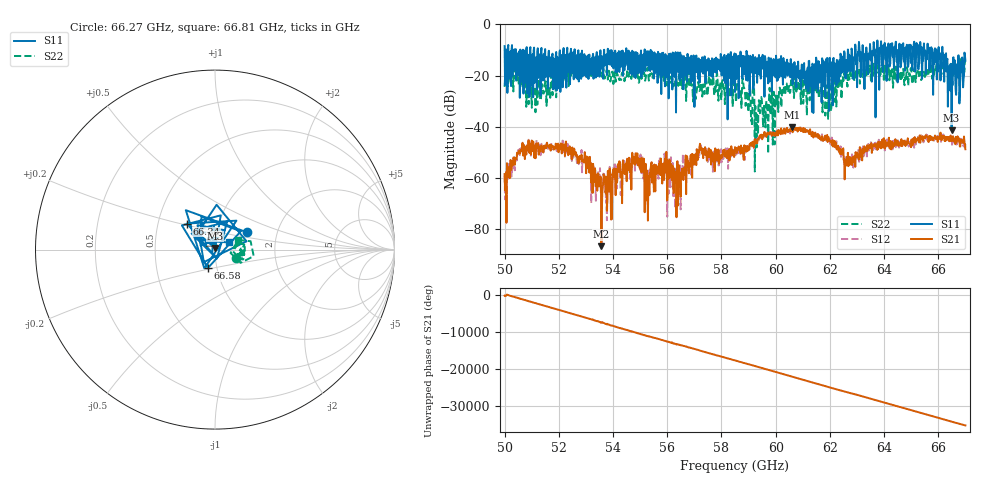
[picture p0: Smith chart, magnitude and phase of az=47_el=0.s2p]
!Created with skrf (http://scikit-rf.org).
# GHz S RI R 50.0
!freq ReS11 ImS11 ReS21 ImS21 ReS12 ImS12 ReS22 ImS22
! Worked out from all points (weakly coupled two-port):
!   1001 points, 50 GHz to 67 GHz, reference 50 ohm
!   highest |S21| = -40.09 dB at 60.61 GHz (marker M1); lowest = -86.7 dB at 53.57 GHz (marker M2)
!   lowest |S11| = -41.3 dB at 66.49 GHz (marker M3), VSWR 1.02, Z = 50 + j0.858 ohm
!   |S11| at or under -10 dB: 52.58 GHz to 53.67 GHz (1.087 GHz wide, 2.05 % of centre); 55.39 GHz to 62.66 GHz (7.275 GHz wide, 12.3 % of centre); 66.16 GHz to end of sweep (the widest 3 of 60)
!   |S22| runs from -57.5 to -13.2 dB; largest |S21 - S12| = 0.0023
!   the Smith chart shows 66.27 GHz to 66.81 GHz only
!   S11 on the Smith chart (normalised r, x): 66.27 GHz: 1.40, +0.28; 66.34 GHz: 0.70, +0.21; 66.58 GHz: 0.91, -0.19; 66.81 GHz: 1.17, +0.09
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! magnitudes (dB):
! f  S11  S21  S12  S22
! 50 GHz  -8.5  -58.5  -59.2  -24.4
! 50.92 GHz  -28.4  -50.3  -48.6  -25.0
! 52.84 GHz  -12.6  -51.0  -49.1  -19.8
! 53.57 GHz  -15.4  -86.7  -64.3  -16.7
! 54.79 GHz  -12.3  -54.0  -54.0  -19.3
! 55.25 GHz  -10.5  -57.1  -58.0  -17.8
! 55.68 GHz  -13.5  -58.3  -60.4  -20.9
! 56.31 GHz  -10.9  -57.7  -56.1  -20.5
! 57.17 GHz  -14.9  -50.2  -52.4  -25.0
! 58.5 GHz  -26.4  -48.0  -50.0  -23.5
! 59.11 GHz  -12.9  -46.4  -47.5  -37.1
! 59.32 GHz  -22.8  -46.5  -45.5  -34.8
! 60.61 GHz  -17.9  -40.1  -40.0  -23.8
! 61.34 GHz  -34.2  -43.7  -42.6  -26.7
! 62.6 GHz  -21.2  -52.7  -52.6  -18.8
! 64.18 GHz  -12.1  -44.3  -44.9  -17.9
! 66.27 GHz  -13.9  -45.6  -45.2  -18.0
! 66.34 GHz  -13.4  -44.0  -44.9  -17.3
! 66.49 GHz  -41.3  -45.0  -44.2  -15.4
! 66.58 GHz  -19.2  -44.9  -45.8  -15.6
! 66.81 GHz  -21.0  -46.3  -47.8  -17.1
! 67 GHz  -14.2  -48.8  -46.8  -14.3
